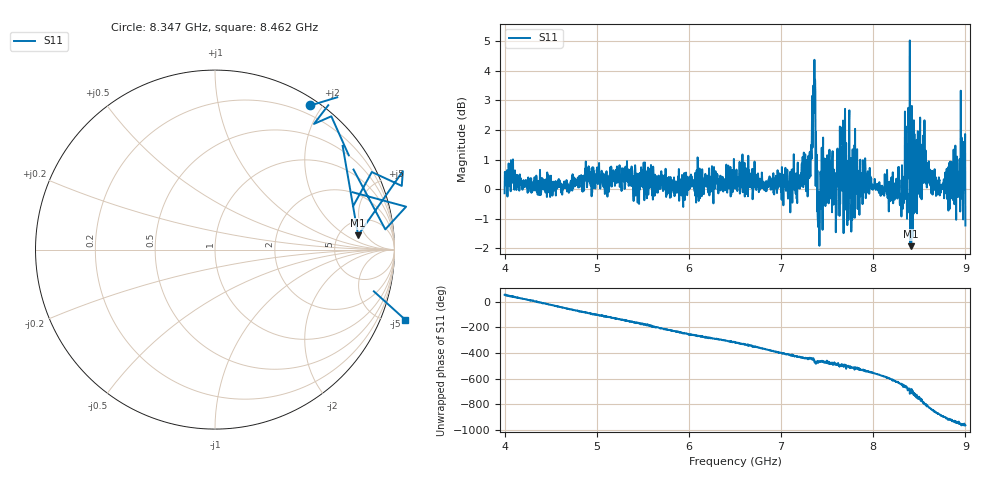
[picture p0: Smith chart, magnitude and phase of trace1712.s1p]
! Created with skrf 1.8.0 (http://scikit-rf.org).
# Hz S RI R 50.0
!freq ReS11 ImS11
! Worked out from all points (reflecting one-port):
!   1601 points, 4 GHz to 9 GHz, reference 50 ohm
!   lowest |S11| = -1.9 dB at 8.412 GHz (marker M1), VSWR 9.07, Z = 376 + j169 ohm
!   phase of S11 starts at 53 deg and turns -1017 deg over the sweep
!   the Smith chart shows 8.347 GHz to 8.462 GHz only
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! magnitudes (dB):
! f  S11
! 4 GHz  -0.1
! 4.066 GHz  -0.1
! 4.625 GHz  -0.2
! 5.25 GHz  0.1
! 5.875 GHz  0.1
! 6.5 GHz  0.4
! 7.125 GHz  0.4
! 7.297 GHz  1.1
! 7.347 GHz  1.9
! 7.369 GHz  3.7
! 7.4 GHz  -1.1
! 7.412 GHz  -0.5
! 7.509 GHz  -0.2
! 7.578 GHz  0.3
! 7.669 GHz  1.5
! 7.75 GHz  -0.1
! 7.769 GHz  -0.5
! 7.8 GHz  -1.0
! 8.259 GHz  0.3
! 8.306 GHz  -0.9
! 8.375 GHz  1.5
! 8.412 GHz  -1.9
! 8.522 GHz  1.4
! 8.638 GHz  0.3
! 8.794 GHz  -0.2
! 8.919 GHz  -0.3
! 8.972 GHz  0.6
! 9 GHz  -1.2
